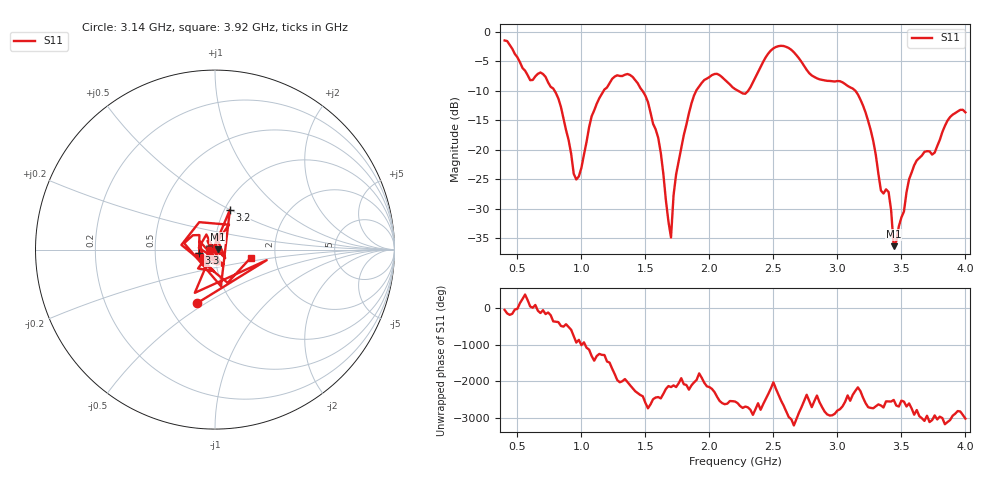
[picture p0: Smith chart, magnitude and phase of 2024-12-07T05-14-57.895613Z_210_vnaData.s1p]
!Created with skrf (http://scikit-rf.org).
# Hz S RI R 50.0
!freq ReS11 ImS11
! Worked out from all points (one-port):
!   181 points, 400 MHz to 4 GHz, reference 50 ohm
!   lowest |S11| = -36.4 dB at 3.44 GHz (marker M1), VSWR 1.03, Z = 51.5 + j0.133 ohm
!   |S11| at or under -10 dB: 790.1 MHz to 1.174 GHz (384.3 MHz wide, 39.1 % of centre); 1.476 GHz to 1.897 GHz (421 MHz wide, 25 % of centre); 3.14 GHz to end of sweep (the widest 3 of 4)
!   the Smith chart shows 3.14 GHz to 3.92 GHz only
!   S11 on the Smith chart (normalised r, x): 3.14 GHz: 0.69, -0.46; 3.2 GHz: 1.06, +0.50; 3.3 GHz: 0.84, -0.03; 3.92 GHz: 1.49, -0.14
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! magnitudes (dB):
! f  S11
! 400 MHz  -1.5
! 600 MHz  -8.2
! 720 MHz  -7.7
! 860 MHz  -14.7
! 960 MHz  -25.1
! 1.12 GHz  -12.2
! 1.3 GHz  -7.5
! 1.52 GHz  -11.9
! 1.62 GHz  -20.5
! 1.7 GHz  -34.9
! 1.72 GHz  -27.7
! 1.76 GHz  -21.9
! 1.86 GHz  -12.1
! 1.94 GHz  -8.7
! 2.2 GHz  -9.7
! 2.3 GHz  -10.1
! 2.5 GHz  -2.8
! 2.66 GHz  -3.5
! 3.1 GHz  -9.4
! 3.14 GHz  -10.0
! 3.2 GHz  -12.5
! 3.3 GHz  -20.9
! 3.34 GHz  -26.9
! 3.4 GHz  -27.2
! 3.44 GHz  -36.4
! 3.56 GHz  -25.0
! 3.92 GHz  -13.8
! 4 GHz  -13.7
